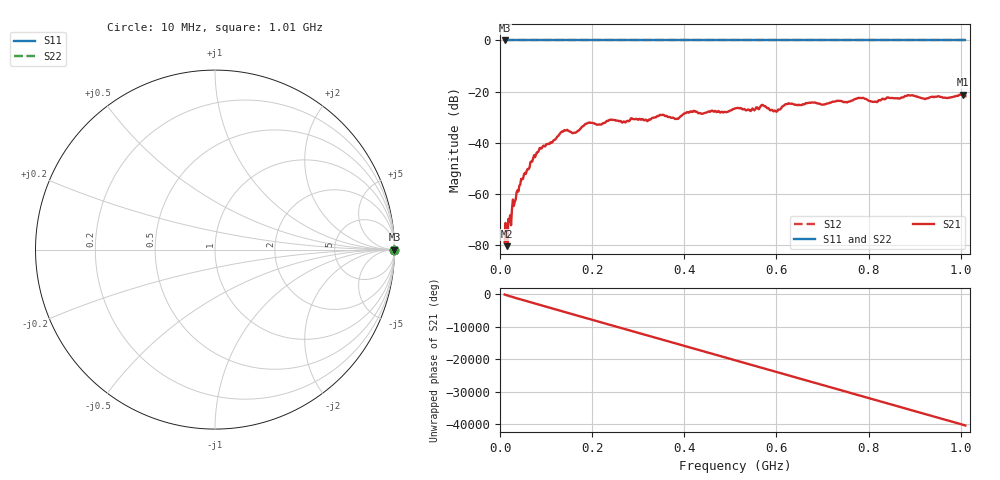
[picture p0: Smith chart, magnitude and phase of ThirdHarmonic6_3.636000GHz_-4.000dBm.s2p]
! 8/17/2025 12:12:18 PM
! C:\ANRITSUVNA\TEMP\TEMP.S2P
! CHANNEL.1
! TR.MEASUREMENT
! RAW.DATA
! RF.CORRECTION.OFF
! AVERAGING.OFF
! IF.BANDWIDTH: 5KHZ
! SWEEPTYPE:  FREQ.SWEEP(Linear)
! Reference Plane Port Info
! PORT:  PORT1  PORT2
! DISTANCE:  0  m  0  m
! TIME:  0  s  0  s
! PHASE.OFFSET:  0  deg.  0  deg.
! LOSS:  0  dB  0  dB
! REF.LOSS:  0  dB  0  dB
! REF.FREQ:  0  Hz  0  Hz
! Power Info
! POWER:  -20  dBm  -20  dBm
! EFF.POWER:  -20  dBm  -20  dBm
! SOURCE.ATTEN:  0  dB  0  dB
! TEST.ATTEN:  0  dB  0  dB
# GHZ S RI R 50.0
! FREQ.GHZ  S11RE  S11IM  S21RE  S21IM  S12RE  S12IM  S22RE  S22IM
!; PortSelection: Port_12
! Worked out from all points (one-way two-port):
!   501 points, 10 MHz to 1.01 GHz, reference 50 ohm
!   highest |S21| = -21.17 dB at 1.004 GHz (marker M1); lowest = -80.5 dB at 16 MHz (marker M2)
!   lowest |S11| = 0.0 dB at 10 MHz (marker M3)
!   |S11| at or under -10 dB: nowhere
!   |S22| runs from 0.0 to 0.0 dB; largest |S21 - S12| = 1.1
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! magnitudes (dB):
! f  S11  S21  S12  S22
! 10 MHz  0.0  -79.1  0.0  0.0
! 12 MHz  0.0  -71.4  0.0  0.0
! 16 MHz  0.0  -80.5  0.0  0.0
! 20 MHz  0.0  -70.8  0.0  0.0
! 32 MHz  0.0  -63.1  0.0  0.0
! 46 MHz  0.0  -54.1  0.0  0.0
! 84 MHz  0.0  -43.3  0.0  0.0
! 136 MHz  0.0  -35.7  0.0  0.0
! 162 MHz  0.0  -36.1  0.0  0.0
! 178 MHz  0.0  -33.7  0.0  0.0
! 194 MHz  0.0  -32.1  0.0  0.0
! 344 MHz  0.0  -29.6  0.0  0.0
! 384 MHz  0.0  -30.6  0.0  0.0
! 416 MHz  0.0  -27.9  0.0  0.0
! 510 MHz  0.0  -26.6  0.0  0.0
! 570 MHz  0.0  -25.2  0.0  0.0
! 598 MHz  0.0  -27.6  0.0  0.0
! 622 MHz  0.0  -24.9  0.0  0.0
! 678 MHz  0.0  -24.3  0.0  0.0
! 844 MHz  0.0  -22.4  0.0  0.0
! 1.004 GHz  0.0  -21.2  0.0  0.0
! 1.01 GHz  0.0  -21.8  0.0  0.0
